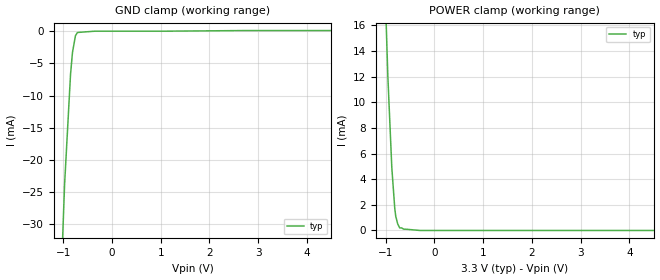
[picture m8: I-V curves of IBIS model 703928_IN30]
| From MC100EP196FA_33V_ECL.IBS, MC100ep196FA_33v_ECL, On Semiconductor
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| (C) COPYRIGHT 1993-2001
| MENTOR GRAPHICS CORPORATION
| ICX STANDARD LIBRARY, ICX PROJECT MODELING,
| ICX CUSTOM MODELING, ICX VENDOR MODEL
| ALL RIGHTS RESERVED.
| THE FOLLOWING ARE TRADEMARKS OR SERVICE MARKS OF
| MENTOR GRAPHICS CORPORATION:ICX (R), ICX STANDARD
| LIBRARY(R), ICX PROJECT MODELING(R), ICX CUSTOM
| MODELING(R), qualityIBIS(TM), MODELVIEWER(TM),
| AND MODELEDITOR(TM)
| ALL COPIES OF SOFTWARE, INCLUDING BUT NOT LIMITED TO
| ANY MODIFICATIONS, ENHANCEMENTS OR DERIVATIVE WORKS,
| MUST CONTAIN ALL MENTOR GRAPHICS CORPORATION'S
| NOTICES AND LEGENDS, INCLUDING THOSE EMBEDDED IN
| SOFTWARE AND THOSE AFFIXED TO SOFTWARE MEDIUM
| AND CONTAINER, AS RECEIVED FROM MENTOR GRAPHICS
| CORPORATION.
| Model Application Version 1.89 2/18/99.
[Model] 703928_IN30
Model_type Input_ECL
Vinl = 1.755V
Vinh = 2.155V
C_comp 4.000pF NA NA
| variable typ   min   max
[Voltage Range] 3.300V NA NA
[GND Clamp Reference] 0.000V NA NA
[POWER Clamp Reference] 3.300V NA NA
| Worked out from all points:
|   GND clamp passes 1 mA (typ) near -0.76 V on its own axis
|   POWER clamp passes 1 mA (typ) near -0.79 V on its own axis
[GND Clamp]
-3.3V     -613.4mA   NA         NA
-1.115V   -53.1mA    NA         NA
-973mV    -23.8mA    NA         NA
-851mV    -6.7mA     NA         NA
-811mV    -3.3mA     NA         NA
-750mV    -700uA     NA         NA
-709mV    -200uA     NA         NA
-354.5mV  0A         NA         NA
1.034V    0A         NA         NA
2.716V    100uA      NA         NA
6.6V      100uA      NA         NA
[POWER Clamp]
-3.3V     387.2mA    NA         NA
-1.119V   31.4mA     NA         NA
-957mV    12mA       NA         NA
-876mV    4.9mA      NA         NA
-815mV    1.7mA      NA         NA
-795mV    1.1mA      NA         NA
-754mV    500uA      NA         NA
-713.5mV  200uA      NA         NA
-673mV    200uA      NA         NA
-632.5mV  100uA      NA         NA
-296mV    0A         NA         NA
6.6V      0A         NA         NA
